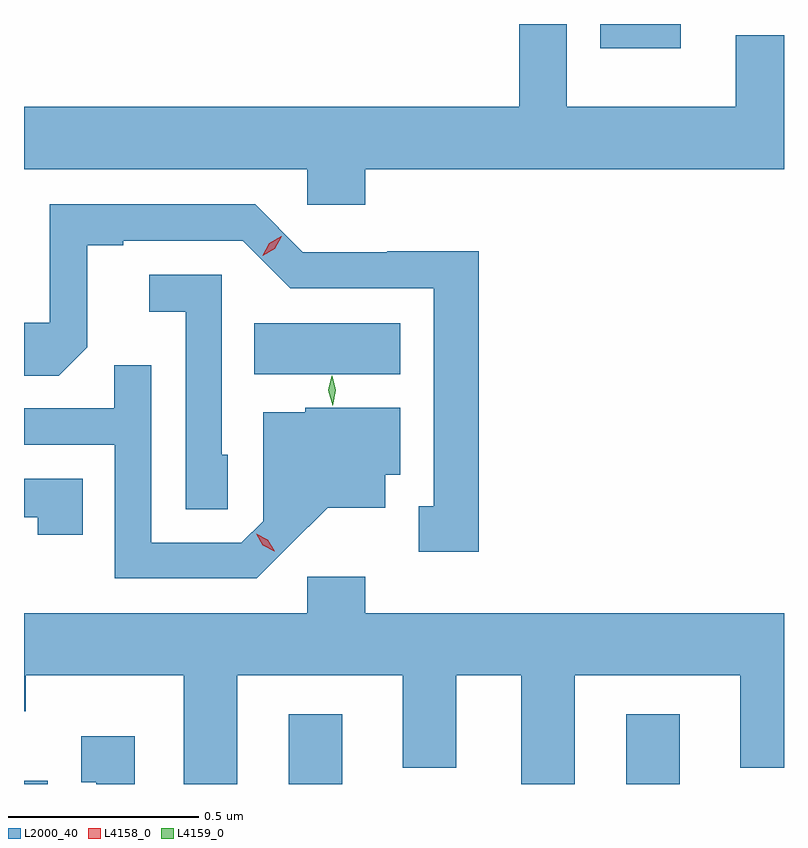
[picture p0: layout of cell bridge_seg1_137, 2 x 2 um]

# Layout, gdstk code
import gdstk
lib = gdstk.Library(unit=1e-6, precision=1e-09)
def R(c, l, rs):  # rectangles x0, y0, x1, y1
    for r in rs: c.add(gdstk.rectangle(r[:2], r[2:], *l))
def P(c, l, *ps):  # polygons
    for p in ps: c.add(gdstk.Polygon(p, *l))
L2000_40 = (2000, 40)
L4158_0 = (4158, 0)
L4159_0 = (4159, 0)

bridge_seg1_137 = lib.new_cell('bridge_seg1_137')
R(bridge_seg1_137, L2000_40, [(467.098,564.766,467.161,564.775), (467.795,564.766,467.935,564.949), (468.683,564.766,468.823,564.949), (467.704,565.844,468.088,565.978), (468.614,566.702,468.826,566.766)])
P(bridge_seg1_137, L2000_40, [(467.996,566.384),(469.098,566.384),(469.098,566.737),(468.971,566.737),(468.971,566.548),(468.526,566.548),(468.526,566.766),(468.401,566.766),(468.401,566.548),(467.098,566.548),(467.098,566.384),(467.844,566.384),(467.844,566.291),(467.996,566.291)],
  [(468.295,566.168),(468.054,566.168),(468.054,566.166),(467.832,566.166),(467.706,566.292),(467.166,566.292),(467.166,565.98),(467.098,565.98),(467.098,565.84),(467.189,565.84),(467.265,565.916),(467.265,566.184),(467.359,566.184),(467.359,566.196),(467.673,566.196),(467.799,566.07),(468.176,566.07),(468.176,565.497),(468.137,565.497),(468.137,565.377),(468.295,565.377)],
  [(467.634,565.632),(467.619,565.632),(467.619,566.106),(467.427,566.106),(467.427,566.009),(467.523,566.009),(467.523,565.489),(467.634,565.489)],
  [(467.794,565.391),(467.897,565.493),(468.049,565.493),(468.049,565.58),(468.088,565.58),(468.088,565.756),(467.838,565.756),(467.838,565.744),(467.727,565.744),(467.727,565.458),(467.67,565.401),(467.433,565.401),(467.433,565.868),(467.335,565.868),(467.335,565.755),(467.098,565.755),(467.098,565.659),(467.337,565.659),(467.337,565.308),(467.71,565.308)],
  [(467.252,565.569),(467.098,565.569),(467.098,565.468),(467.134,565.468),(467.134,565.422),(467.252,565.422)],
  [(467.659,565.052),(468.095,565.052),(468.095,564.809),(468.235,564.809),(468.235,565.052),(468.407,565.052),(468.407,564.766),(468.547,564.766),(468.547,565.052),(468.983,565.052),(468.983,564.809),(469.098,564.809),(469.098,565.216),(467.996,565.216),(467.996,565.312),(467.844,565.312),(467.844,565.216),(467.098,565.216),(467.098,564.957),(467.103,564.957),(467.103,565.052),(467.519,565.052),(467.519,564.766),(467.659,564.766)],
  [(467.389,564.892),(467.249,564.892),(467.249,564.771),(467.288,564.771),(467.288,564.766),(467.389,564.766)])
P(bridge_seg1_137, L4158_0, [(467.726,566.156),(467.726,566.157),(467.744,566.189),(467.775,566.207),(467.776,566.207),(467.776,566.207),(467.758,566.175),(467.726,566.156)],
  [(467.757,565.378),(467.726,565.394),(467.709,565.424),(467.709,565.424),(467.709,565.424),(467.74,565.409),(467.758,565.379),(467.758,565.378)])
P(bridge_seg1_137, L4159_0, [(467.91,565.762),(467.91,565.762),(467.899,565.802),(467.908,565.841),(467.908,565.841),(467.909,565.841),(467.919,565.802),(467.91,565.762)])

lib.write_gds('bridge_seg1_137.gds')
